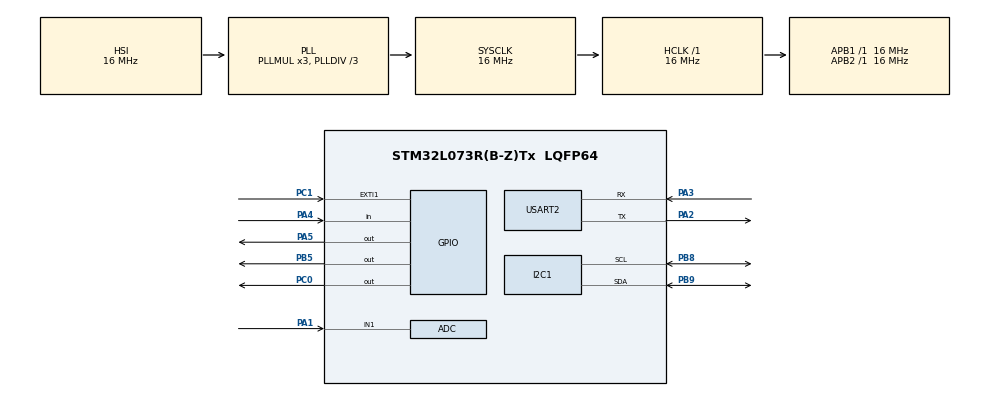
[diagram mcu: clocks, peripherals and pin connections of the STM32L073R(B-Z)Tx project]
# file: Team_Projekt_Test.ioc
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I2C1.Timing=0x00303D5B
Mcu.Family=STM32L0
Mcu.Name=STM32L073R(B-Z)Tx
Mcu.Package=LQFP64
NVIC.EXTI0_1_IRQn=true\:0\:0\:false\:false\:true\:true\:true\:true
PA0.Mode=SYS_WakeUp0
PA0.Signal=SYS_WKUP1
PA1.Mode=IN1
PA1.Signal=ADC_IN1
PA13.Mode=Serial_Wire
PA13.Signal=SYS_SWDIO
PA14.Mode=Serial_Wire
PA14.Signal=SYS_SWCLK
PA2.Mode=Asynchronous
PA2.Signal=USART2_TX
PA3.Mode=Asynchronous
PA3.Signal=USART2_RX
PA4.GPIO_Mode=GPIO_MODE_INPUT
PA4.GPIO_PuPd=GPIO_PULLUP
PA4.Signal=GPIO_Input
PA5.GPIO_PuPd=GPIO_NOPULL
PA5.Signal=GPIO_Output
PB5.GPIO_PuPd=GPIO_PULLUP
PB5.Signal=GPIO_Output
PB8.Mode=I2C
PB8.Signal=I2C1_SCL
PB9.Mode=I2C
PB9.Signal=I2C1_SDA
PC0.Signal=GPIO_Output
PC1.Signal=GPXTI1
PH0-OSC_IN.Mode=HSE-External-Oscillator
PH0-OSC_IN.Signal=RCC_OSC_IN
PH1-OSC_OUT.Mode=HSE-External-Oscillator
PH1-OSC_OUT.Signal=RCC_OSC_OUT
ProjectManager.HeapSize=0x200
ProjectManager.StackSize=0x400
ProjectManager.TargetToolchain=STM32CubeIDE
RCC.AHBFreq_Value=16000000
RCC.APB1Freq_Value=16000000
RCC.APB1TimFreq_Value=16000000
RCC.APB2Freq_Value=16000000
RCC.APB2TimFreq_Value=16000000
RCC.HCLKFreq_Value=16000000
RCC.HSE_VALUE=8000000
RCC.HSI16_VALUE=16000000
RCC.HSI48_VALUE=48000000
RCC.HSI_VALUE=16000000
RCC.LSE_VALUE=32768
RCC.MSI_VALUE=2097000
RCC.PLLDIV=RCC_PLLDIV_3
RCC.SYSCLKFreq_VALUE=16000000
RCC.SYSCLKSource=RCC_SYSCLKSOURCE_PLLCLK
RCC.VCOOutputFreq_Value=48000000
USART2.VirtualMode-Asynchronous=VM_ASYNC
board=custom

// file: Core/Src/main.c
/* USER CODE BEGIN Header */
/**
  ******************************************************************************
  * @file           : main.c
  * @brief          : Main program body
  ******************************************************************************
  * @attention
  *
  * Copyright (c) 2024 STMicroelectronics.
  * All rights reserved.
  *
  * This software is licensed under terms that can be found in the LICENSE file
  * in the root directory of this software component.
  * If no LICENSE file comes with this software, it is provided AS-IS.
  *
  ******************************************************************************
  */
/* USER CODE END Header */
#include "main.h"

/* USER CODE BEGIN Includes */

#include <stdio.h>
#include <string.h>

/* USER CODE END Includes */

/* USER CODE BEGIN PD */

#define PCF8523_Address 0x68//0xD0 // I2C Adresse oder 0x68 ?
#define Control_1 0x00
#define Control_2 0x01
#define Control_3 0x02
#define Tmr_CLKOUT_ctrl 0x0F

#define Tmr_A_freq_ctrl 0x10
#define Tmr_A_reg 0x11

#define PCF8523_TIMER_B_FRCTL 0x12
#define PCF8523_TIMER_B_VALUE 0x13
#define PCF8523_OFFSET 0x0E
#define PCF8523_STATUSREG 0x03

#define RV3028C7_Address 0x52 //oder 0xA4
#define RV_Timer_Val_0 0x0A
#define RV_Timer_Val_1 0x0B
#define RV_Status 0x0E
#define RV_Control_1 0x0F
#define RV_Control_2 0x10
#define RV_EEPROM_Backup 0x37

/* USER CODE END PD */

ADC_HandleTypeDef hadc;

I2C_HandleTypeDef hi2c1;

UART_HandleTypeDef huart2;

/* USER CODE BEGIN PV */

int data = 0;
char msg[20];
uint8_t prozent = 0;
uint8_t reset = 0x00;
uint8_t pcf_reset = 0x58;

/******************************PCF_RTC******************************************/

uint8_t pcf_freq = 0x02;
uint8_t pcf_timr = 0x0A;
uint8_t InEn = 0x02;
uint8_t con = 0xBA;

/* Diese Werte sind für den Modus B!!! Die oberen Werte dann auskommentieren.
*/
/*
uint8_t pcf_freq = 0x32; //0x02=46ms, 0x12=62.5ms, 0x22=78.125ms, 0x32=93.75ms , 0x42=125ms
uint8_t pcf_timr = 0x0A;
uint8_t InEn = 0x01;
uint8_t con = 0x79;
*/

/******************************RV_RTC******************************************/

/* USER CODE END PV */

void SystemClock_Config(void);
static void MX_GPIO_Init(void);
static void MX_I2C1_Init(void);
static void MX_ADC_Init(void);
static void MX_USART2_UART_Init(void);

/* USER CODE BEGIN 0 */

typedef enum {
	RTC_RV_MODE,
	RTC_PCF_MODE_A,
	RTC_PCF_MODE_B,
	DATA_MODE,
	SLEEP_MODE

} Mode;

void RV3028C7_RTC(uint8_t timer_val)
{
	/*******************Test um zu sehen ob I2C Verbindung vorhanden ist********************/
	  if(HAL_I2C_IsDeviceReady(&hi2c1, RV3028C7_Address << 1, 2, 100) == HAL_OK)
	  {
		  HAL_GPIO_WritePin(GPIOA, GPIO_PIN_5, GPIO_PIN_SET);
		  HAL_Delay(1000);
		  HAL_GPIO_WritePin(GPIOA, GPIO_PIN_5, GPIO_PIN_RESET);
		  HAL_Delay(1000);
	  }
	  else{
		  	  return;
		  //wenn nicht Verbunden dann Fehler
	  }

	/*********************************RESET******************************************/
	uint8_t TE;
	HAL_I2C_Mem_Read(&hi2c1, RV3028C7_Address << 1, RV_Control_1, 1, &TE, 1, 1000); // lesen von register
	TE &= ~(1 << 2);
	HAL_I2C_Mem_Write(&hi2c1, RV3028C7_Address << 1, RV_Control_1, 1,  &TE, 1, 1000);

	uint8_t TIE;
	HAL_I2C_Mem_Read(&hi2c1, RV3028C7_Address << 1, RV_Control_2, 1, &TIE, 1, 1000); // lesen von register
	TIE &= ~(1 << 4);
	HAL_I2C_Mem_Write(&hi2c1, RV3028C7_Address << 1, RV_Control_2, 1,  &TIE, 1, 1000);

	uint8_t TF;
	HAL_I2C_Mem_Read(&hi2c1, RV3028C7_Address << 1, RV_Status, 1, &TF, 1, 1000); // lesen von register
	TF &= ~(1 << 3);
	HAL_I2C_Mem_Write(&hi2c1, RV3028C7_Address << 1, RV_Status, 1,  &TF, 1, 1000);

	/*********************************INIT******************************************/
	uint8_t TRPT;
	HAL_I2C_Mem_Read(&hi2c1, RV3028C7_Address << 1, RV_Control_1, 1, &TRPT, 1, 1000); // lesen von register
	TRPT |= (1 << 7);
	HAL_I2C_Mem_Write(&hi2c1, RV3028C7_Address << 1, RV_Control_1, 1,  &TRPT, 1, 1000);

	uint8_t TD;
	HAL_I2C_Mem_Read(&hi2c1, RV3028C7_Address << 1, RV_Control_1, 1, &TD, 1, 1000); // lesen von register
	TD |= 0x02;
	HAL_I2C_Mem_Write(&hi2c1, RV3028C7_Address << 1, RV_Control_1, 1,  &TD, 1, 1000);

	HAL_I2C_Mem_Write(&hi2c1, RV3028C7_Address << 1, RV_Timer_Val_0, 1,  &timer_val, 1, 1000);

	uint8_t TIEM;
	HAL_I2C_Mem_Read(&hi2c1, RV3028C7_Address << 1, RV_Control_2, 1, &TIEM, 1, 1000); // lesen von register
	TIEM |= (1 << 4);
	HAL_I2C_Mem_Write(&hi2c1, RV3028C7_Address << 1, RV_Control_2, 1,  &TIEM, 1, 1000);

	uint8_t TEM;
	HAL_I2C_Mem_Read(&hi2c1, RV3028C7_Address << 1, RV_Control_1, 1, &TEM, 1, 1000); // lesen von register
	TEM |= (1 << 2);
	HAL_I2C_Mem_Write(&hi2c1, RV3028C7_Address << 1, RV_Control_1, 1,  &TEM, 1, 1000);
	/*********************************BACKUP******************************************/
	uint8_t backup = 0x00;
	HAL_I2C_Mem_Write(&hi2c1, RV3028C7_Address << 1, RV_EEPROM_Backup, 1,  &backup, 1, 1000); //reset

	backup |= (1 << 2);
	HAL_I2C_Mem_Write(&hi2c1, RV3028C7_Address << 1, RV_EEPROM_Backup, 1,  &backup, 1, 1000);

}

/*
 * Diese Funktion wird benötigt um die PCF8523-RTC zu programmieren. Es wird Hier unterschieden zwischen
 * Modus A und B. Der Vorteil der Interrupt Generierung durch Timer-A ist, dass der Interrupt die
 * geringste Dauer hat. Der durch Timer-B verursachte Interrupt hat jedoch eine variable Dauer die von
 * 46,875ms bis 218,750ms reicht. Für unterschiedliche MCUs und Anwendungsgebiete kann dieser Timer
 * sinnvoll sein. Neben dem Modi werden weitere Parameter wie Frequenz und Anfangswert des Timers
 * um das Interrupt Intervall einzustellen.
 */
void PCF_RTC(uint8_t val, uint8_t freq, uint8_t inter, uint8_t control, Mode mode)
{
	/*******************Test um zu sehen ob I2C Verbindung vorhanden ist********************/
	  if(HAL_I2C_IsDeviceReady(&hi2c1, PCF8523_Address << 1, 2, 100) == HAL_OK)
	  {
		  HAL_GPIO_WritePin(GPIOA, GPIO_PIN_5, GPIO_PIN_SET);
		  HAL_Delay(1000);
		  HAL_GPIO_WritePin(GPIOA, GPIO_PIN_5, GPIO_PIN_RESET);
		  HAL_Delay(1000);
	  }
	  else{
		  	  return;
		  //wenn nicht Verbunden dann Fehler
	  }

	/*********************************RESET******************************************/
	HAL_I2C_Mem_Write(&hi2c1, PCF8523_Address << 1, Control_1, 1, &pcf_reset, 1, 1000);
	/*********************************Interrupt Enable******************************************/

	HAL_I2C_Mem_Write(&hi2c1, PCF8523_Address << 1, Control_2, 1,  &inter, 1, 1000); // schreiben des registers mit gesetztem bit
	/*********************************Modus******************************************/

	HAL_I2C_Mem_Write(&hi2c1, PCF8523_Address << 1, Tmr_CLKOUT_ctrl, 1,  &control, 1, 1000);

	if (mode == RTC_PCF_MODE_A)
	{
		HAL_I2C_Mem_Write(&hi2c1, PCF8523_Address << 1, Tmr_A_freq_ctrl, 1, &freq, 1, 1000); // schreiben von frequenz register
		HAL_I2C_Mem_Write(&hi2c1, PCF8523_Address << 1, Tmr_A_reg, 1, &val, 1, 1000);
	}
	else if (mode == RTC_PCF_MODE_B)
	{
		HAL_I2C_Mem_Write(&hi2c1, PCF8523_Address << 1, PCF8523_TIMER_B_FRCTL, 1, &freq, 1, 1000); // schreiben von frequenz register
		HAL_I2C_Mem_Write(&hi2c1, PCF8523_Address << 1, PCF8523_TIMER_B_VALUE, 1, &val, 1, 1000);
	}
	else
	{
		HAL_I2C_Mem_Write(&hi2c1, PCF8523_Address << 1, Control_1, 1, &pcf_reset, 1, 1000);
		return;
	}
	/*********************************Batterie******************************************/

	uint8_t battery = 0x00; // Von Hand resetten!
	HAL_I2C_Mem_Write(&hi2c1, PCF8523_Address << 1, Control_3, 1,  &battery, 1, 1000); //reset

	battery |= (1 << 7);
	HAL_I2C_Mem_Write(&hi2c1, PCF8523_Address << 1, Control_3, 1, &battery, 1, 1000); // batterie mode aktiviert

}

/*
 *Go_To_Standby() ist für den Standby-Modus des Stm32 da. Dieser Modus wurde nur für
 *Messungen benutzt um eine Schlussvolgerung von Standby-Modus und STFO-Schaltung zu
 *ziehen. PA0 dient hierbei als Wake-Up-Pin. Der Mikrocontroller geht in den Standby-
 *Modus. Er wacht auf, falls ein Interrupt auf dem Wake-Up-Pin empfangen wird.
 */
void Go_To_Standby()
{

	  if(__HAL_PWR_GET_FLAG(PWR_FLAG_SB) != RESET)
	  {
		  __HAL_PWR_CLEAR_FLAG(PWR_FLAG_SB);

		  HAL_GPIO_WritePin(GPIOA, GPIO_PIN_5, GPIO_PIN_SET);
		  HAL_Delay(500);
		  HAL_GPIO_WritePin(GPIOA, GPIO_PIN_5, GPIO_PIN_RESET);
		  HAL_PWR_DisableWakeUpPin(PWR_WAKEUP_PIN1); //disable PA0
	  }

	  __HAL_PWR_CLEAR_FLAG(PWR_FLAG_WU);

	  HAL_PWR_EnableWakeUpPin(PWR_WAKEUP_PIN1);

	  HAL_PWR_EnterSTANDBYMode();
}

void Go_To_Stop()
{

	for (int i=0; i<20; i++)
	{
		HAL_GPIO_TogglePin(GPIOA, GPIO_PIN_5);
		HAL_Delay(200);
	}

	HAL_SuspendTick();
	HAL_PWR_EnterSTOPMode(PWR_LOWPOWERREGULATOR_ON, PWR_STOPENTRY_WFI);

	SystemClock_Config();
	HAL_ResumeTick();
	for (int i=0; i<5; i++)
	{
		HAL_GPIO_TogglePin(GPIOA, GPIO_PIN_5);
		HAL_Delay(2000);
	}

}

/*
 * Die Funktion Feuchtigkeit() wandelt Messdaten des Feuchtigkeitssensors in Prozentuale
 * Messdaten um. Bei neuen Umgebungsbedingungen muss der Sensor neu kalibriert werden.
 * Bei der jetzigen Kalibrierung steht ein Messwert von 2780 für eine Feuchtigkeit von
 * 0% und ein Wert von 1180 für 100%.
 */
void feuchtigkeit (int daten)
{
	if(daten >= 2780)
	{
		prozent = 0;
	}
	else if (daten >= 1180)
	{
		prozent = (2780-daten)/16;
	}
	else if (daten <= 1180)
	{
		prozent = 100;
	}
}

/*
 * In Messung wird zuerst die Selbsthaltung auf PC0 gesetzt. Danach werden Messdaten
 * über den ADC gesammelt, durch die Funktion feuchtigkeit() weiterverarbeitet und
 * über eine UART-Schnittstelle versendet. Nach dem Verarbeiten der Daten wird der
 * Pin PC0 auf Low gesetzt und somit die Selbsthaltung ausgeschaltet.
 */
void Messung()
{

	HAL_GPIO_WritePin(GPIOC, GPIO_PIN_0, GPIO_PIN_SET);

	for (int i=0; i<3; i++)
	{
		HAL_ADC_Start(&hadc);
		HAL_ADC_PollForConversion(&hadc, 20);
		data = HAL_ADC_GetValue(&hadc);
		feuchtigkeit(data);
		sprintf(msg, "Feuchtigkeit %hu \r\n", prozent);
		HAL_UART_Transmit(&huart2, (uint8_t*)msg, strlen(msg), HAL_MAX_DELAY);
		HAL_Delay(10);
	}

	HAL_GPIO_WritePin(GPIOC, GPIO_PIN_0, GPIO_PIN_RESET);

}

/*
 * chooseMode() wird nach der Initialisierung der Peripherie aufgerufen. Hier wird entschieden
 * welche Funktion der MCU ausführen soll. In den beiden RTC-Modi wird jeweils eine RTC
 * programmiert und die Interrupt-Funktion der RTC getestet. Der Sleep-Modus ist nur zum Vergleich
 * von Standby und STFO-Schaltung da. Data-Modus wird benutzt um die Selbsthaltung zu schalten
 * sowie die Daten des Feuchtigkeitssensors auszulesen. Dieser Modus wird benutzt, wenn der MCU
 * mit der STFO-Schaltung verbunden ist.
 */
void chooseMode(Mode m)
{

	  switch (m){

	  case RTC_RV_MODE:
		  RV3028C7_RTC(0x0A);
		  break;

	  case RTC_PCF_MODE_A:
		  PCF_RTC(pcf_timr, pcf_freq, InEn, con, RTC_PCF_MODE_A);
		  break;

	  case RTC_PCF_MODE_B:
		  PCF_RTC(pcf_timr, pcf_freq, InEn, con, RTC_PCF_MODE_B);
		  break;

	  case DATA_MODE:
		  Messung();
		  break;

	  case SLEEP_MODE:
		  Go_To_Standby();
		  break;

	  default:

		  break;

	  }

}

/* USER CODE END 0 */

int main(void)
{

  HAL_Init();

  /* Configure the system clock */
  SystemClock_Config();

  /* Initialize all configured peripherals */
  MX_GPIO_Init();
  MX_I2C1_Init();
  MX_ADC_Init();
  MX_USART2_UART_Init();
  /* USER CODE BEGIN 2 */

 chooseMode(RTC_PCF_MODE_A);

  /* USER CODE END 2 */

  /* Infinite loop */
  while (1)
  {

  }
}

void SystemClock_Config(void)
{
  RCC_OscInitTypeDef RCC_OscInitStruct = {0};
  RCC_ClkInitTypeDef RCC_ClkInitStruct = {0};
  RCC_PeriphCLKInitTypeDef PeriphClkInit = {0};

  /** Configure the main internal regulator output voltage
  */
  __HAL_PWR_VOLTAGESCALING_CONFIG(PWR_REGULATOR_VOLTAGE_SCALE1);

  /** Initializes the RCC Oscillators according to the specified parameters
  * in the RCC_OscInitTypeDef structure.
  */
  RCC_OscInitStruct.OscillatorType = RCC_OSCILLATORTYPE_HSI;
  RCC_OscInitStruct.HSIState = RCC_HSI_ON;
  RCC_OscInitStruct.HSICalibrationValue = RCC_HSICALIBRATION_DEFAULT;
  RCC_OscInitStruct.PLL.PLLState = RCC_PLL_ON;
  RCC_OscInitStruct.PLL.PLLSource = RCC_PLLSOURCE_HSI;
  RCC_OscInitStruct.PLL.PLLMUL = RCC_PLLMUL_3;
  RCC_OscInitStruct.PLL.PLLDIV = RCC_PLLDIV_3;
  if (HAL_RCC_OscConfig(&RCC_OscInitStruct) != HAL_OK)
  {
    Error_Handler();
  }

  /** Initializes the CPU, AHB and APB buses clocks
  */
  RCC_ClkInitStruct.ClockType = RCC_CLOCKTYPE_HCLK|RCC_CLOCKTYPE_SYSCLK
                              |RCC_CLOCKTYPE_PCLK1|RCC_CLOCKTYPE_PCLK2;
  RCC_ClkInitStruct.SYSCLKSource = RCC_SYSCLKSOURCE_PLLCLK;
  RCC_ClkInitStruct.AHBCLKDivider = RCC_SYSCLK_DIV1;
  RCC_ClkInitStruct.APB1CLKDivider = RCC_HCLK_DIV1;
  RCC_ClkInitStruct.APB2CLKDivider = RCC_HCLK_DIV1;

  if (HAL_RCC_ClockConfig(&RCC_ClkInitStruct, FLASH_LATENCY_0) != HAL_OK)
  {
    Error_Handler();
  }
  PeriphClkInit.PeriphClockSelection = RCC_PERIPHCLK_USART2|RCC_PERIPHCLK_I2C1;
  PeriphClkInit.Usart2ClockSelection = RCC_USART2CLKSOURCE_PCLK1;
  PeriphClkInit.I2c1ClockSelection = RCC_I2C1CLKSOURCE_PCLK1;
  if (HAL_RCCEx_PeriphCLKConfig(&PeriphClkInit) != HAL_OK)
  {
    Error_Handler();
  }
}

static void MX_ADC_Init(void)
{

  ADC_ChannelConfTypeDef sConfig = {0};

  /** Configure the global features of the ADC (Clock, Resolution, Data Alignment and number of conversion)
  */
  hadc.Instance = ADC1;
  hadc.Init.OversamplingMode = DISABLE;
  hadc.Init.ClockPrescaler = ADC_CLOCK_SYNC_PCLK_DIV1;
  hadc.Init.Resolution = ADC_RESOLUTION_12B;
  hadc.Init.SamplingTime = ADC_SAMPLETIME_1CYCLE_5;
  hadc.Init.ScanConvMode = ADC_SCAN_DIRECTION_FORWARD;
  hadc.Init.DataAlign = ADC_DATAALIGN_RIGHT;
  hadc.Init.ContinuousConvMode = DISABLE;
  hadc.Init.DiscontinuousConvMode = DISABLE;
  hadc.Init.ExternalTrigConvEdge = ADC_EXTERNALTRIGCONVEDGE_NONE;
  hadc.Init.ExternalTrigConv = ADC_SOFTWARE_START;
  hadc.Init.DMAContinuousRequests = DISABLE;
  hadc.Init.EOCSelection = ADC_EOC_SINGLE_CONV;
  hadc.Init.Overrun = ADC_OVR_DATA_PRESERVED;
  hadc.Init.LowPowerAutoWait = DISABLE;
  hadc.Init.LowPowerFrequencyMode = DISABLE;
  hadc.Init.LowPowerAutoPowerOff = DISABLE;
  if (HAL_ADC_Init(&hadc) != HAL_OK)
  {
    Error_Handler();
  }

  /** Configure for the selected ADC regular channel to be converted.
  */
  sConfig.Channel = ADC_CHANNEL_1;
  sConfig.Rank = ADC_RANK_CHANNEL_NUMBER;
  if (HAL_ADC_ConfigChannel(&hadc, &sConfig) != HAL_OK)
  {
    Error_Handler();
  }

}

static void MX_I2C1_Init(void)
{

  hi2c1.Instance = I2C1;
  hi2c1.Init.Timing = 0x00303D5B;
  hi2c1.Init.OwnAddress1 = 0;
  hi2c1.Init.AddressingMode = I2C_ADDRESSINGMODE_7BIT;
  hi2c1.Init.DualAddressMode = I2C_DUALADDRESS_DISABLE;
  hi2c1.Init.OwnAddress2 = 0;
  hi2c1.Init.OwnAddress2Masks = I2C_OA2_NOMASK;
  hi2c1.Init.GeneralCallMode = I2C_GENERALCALL_DISABLE;
  hi2c1.Init.NoStretchMode = I2C_NOSTRETCH_DISABLE;
  if (HAL_I2C_Init(&hi2c1) != HAL_OK)
  {
    Error_Handler();
  }

  /** Configure Analogue filter
  */
  if (HAL_I2CEx_ConfigAnalogFilter(&hi2c1, I2C_ANALOGFILTER_ENABLE) != HAL_OK)
  {
    Error_Handler();
  }

  /** Configure Digital filter
  */
  if (HAL_I2CEx_ConfigDigitalFilter(&hi2c1, 0) != HAL_OK)
  {
    Error_Handler();
  }

}

static void MX_USART2_UART_Init(void)
{

  huart2.Instance = USART2;
  huart2.Init.BaudRate = 115200;
  huart2.Init.WordLength = UART_WORDLENGTH_8B;
  huart2.Init.StopBits = UART_STOPBITS_1;
  huart2.Init.Parity = UART_PARITY_NONE;
  huart2.Init.Mode = UART_MODE_TX_RX;
  huart2.Init.HwFlowCtl = UART_HWCONTROL_NONE;
  huart2.Init.OverSampling = UART_OVERSAMPLING_16;
  huart2.Init.OneBitSampling = UART_ONE_BIT_SAMPLE_DISABLE;
  huart2.AdvancedInit.AdvFeatureInit = UART_ADVFEATURE_NO_INIT;
  if (HAL_UART_Init(&huart2) != HAL_OK)
  {
    Error_Handler();
  }

}

static void MX_GPIO_Init(void)
{
  GPIO_InitTypeDef GPIO_InitStruct = {0};

  /* GPIO Ports Clock Enable */
  __HAL_RCC_GPIOH_CLK_ENABLE();
  __HAL_RCC_GPIOC_CLK_ENABLE();
  __HAL_RCC_GPIOA_CLK_ENABLE();
  __HAL_RCC_GPIOB_CLK_ENABLE();

  /*Configure GPIO pin Output Level */
  HAL_GPIO_WritePin(GPIOC, GPIO_PIN_0, GPIO_PIN_RESET);

  /*Configure GPIO pin Output Level */
  HAL_GPIO_WritePin(GPIOA, GPIO_PIN_5, GPIO_PIN_RESET);

  /*Configure GPIO pin Output Level */
  HAL_GPIO_WritePin(GPIOB, GPIO_PIN_5, GPIO_PIN_RESET);

  /*Configure GPIO pin : PC0 */
  GPIO_InitStruct.Pin = GPIO_PIN_0;
  GPIO_InitStruct.Mode = GPIO_MODE_OUTPUT_PP;
  GPIO_InitStruct.Pull = GPIO_NOPULL;
  GPIO_InitStruct.Speed = GPIO_SPEED_FREQ_LOW;
  HAL_GPIO_Init(GPIOC, &GPIO_InitStruct);

  /*Configure GPIO pin : PC1 */
  GPIO_InitStruct.Pin = GPIO_PIN_1;
  GPIO_InitStruct.Mode = GPIO_MODE_IT_RISING;
  GPIO_InitStruct.Pull = GPIO_NOPULL;
  HAL_GPIO_Init(GPIOC, &GPIO_InitStruct);

  /*Configure GPIO pin : PA4 */
  GPIO_InitStruct.Pin = GPIO_PIN_4;
  GPIO_InitStruct.Mode = GPIO_MODE_INPUT;
  GPIO_InitStruct.Pull = GPIO_PULLUP;
  HAL_GPIO_Init(GPIOA, &GPIO_InitStruct);

  /*Configure GPIO pin : PA5 */
  GPIO_InitStruct.Pin = GPIO_PIN_5;
  GPIO_InitStruct.Mode = GPIO_MODE_OUTPUT_PP;
  GPIO_InitStruct.Pull = GPIO_NOPULL;
  GPIO_InitStruct.Speed = GPIO_SPEED_FREQ_LOW;
  HAL_GPIO_Init(GPIOA, &GPIO_InitStruct);

  /*Configure GPIO pin : PB5 */
  GPIO_InitStruct.Pin = GPIO_PIN_5;
  GPIO_InitStruct.Mode = GPIO_MODE_OUTPUT_PP;
  GPIO_InitStruct.Pull = GPIO_PULLUP;
  GPIO_InitStruct.Speed = GPIO_SPEED_FREQ_LOW;
  HAL_GPIO_Init(GPIOB, &GPIO_InitStruct);

  /* EXTI interrupt init*/
  HAL_NVIC_SetPriority(EXTI0_1_IRQn, 0, 0);
  HAL_NVIC_EnableIRQ(EXTI0_1_IRQn);

}

void Error_Handler(void)
{
  __disable_irq();
  while (1)
  {
  }
}
